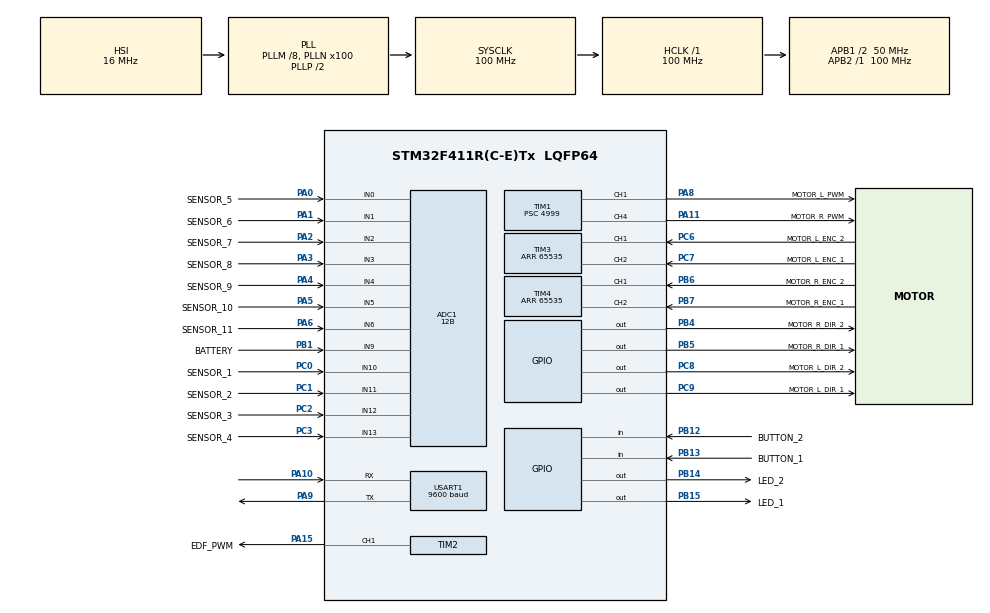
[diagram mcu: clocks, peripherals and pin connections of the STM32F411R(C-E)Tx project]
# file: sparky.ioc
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ADC1.Channel-0\#ChannelRegularConversion=ADC_CHANNEL_10
ADC1.Channel-1\#ChannelRegularConversion=ADC_CHANNEL_11
ADC1.Channel-10\#ChannelRegularConversion=ADC_CHANNEL_6
ADC1.Channel-11\#ChannelRegularConversion=ADC_CHANNEL_9
ADC1.Channel-12\#ChannelRegularConversion=ADC_CHANNEL_VREFINT
ADC1.Channel-2\#ChannelRegularConversion=ADC_CHANNEL_12
ADC1.Channel-3\#ChannelRegularConversion=ADC_CHANNEL_13
ADC1.Channel-4\#ChannelRegularConversion=ADC_CHANNEL_0
ADC1.Channel-5\#ChannelRegularConversion=ADC_CHANNEL_1
ADC1.Channel-6\#ChannelRegularConversion=ADC_CHANNEL_2
ADC1.Channel-7\#ChannelRegularConversion=ADC_CHANNEL_3
ADC1.Channel-8\#ChannelRegularConversion=ADC_CHANNEL_4
ADC1.Channel-9\#ChannelRegularConversion=ADC_CHANNEL_5
ADC1.ClockPrescaler=ADC_CLOCK_SYNC_PCLK_DIV4
ADC1.ContinuousConvMode=DISABLE
ADC1.DMAContinuousRequests=ENABLE
ADC1.DataAlign=ADC_DATAALIGN_RIGHT
ADC1.DiscontinuousConvMode=DISABLE
ADC1.EOCSelection=ADC_EOC_SEQ_CONV
ADC1.EnableAnalogWatchDog=false
ADC1.ExternalTrigConv=ADC_SOFTWARE_START
ADC1.ExternalTrigConvEdge=ADC_EXTERNALTRIGCONVEDGE_NONE
ADC1.InjNumberOfConversion=0
ADC1.NbrOfConversion=13
ADC1.NbrOfConversionFlag=1
ADC1.Rank-0\#ChannelRegularConversion=1
ADC1.Rank-1\#ChannelRegularConversion=2
ADC1.Rank-10\#ChannelRegularConversion=11
ADC1.Rank-11\#ChannelRegularConversion=12
ADC1.Rank-12\#ChannelRegularConversion=13
ADC1.Rank-2\#ChannelRegularConversion=3
ADC1.Rank-3\#ChannelRegularConversion=4
ADC1.Rank-4\#ChannelRegularConversion=5
ADC1.Rank-5\#ChannelRegularConversion=6
ADC1.Rank-6\#ChannelRegularConversion=7
ADC1.Rank-7\#ChannelRegularConversion=8
ADC1.Rank-8\#ChannelRegularConversion=9
ADC1.Rank-9\#ChannelRegularConversion=10
ADC1.Resolution=ADC_RESOLUTION_12B
ADC1.SamplingTime-0\#ChannelRegularConversion=ADC_SAMPLETIME_3CYCLES
ADC1.SamplingTime-1\#ChannelRegularConversion=ADC_SAMPLETIME_3CYCLES
ADC1.SamplingTime-10\#ChannelRegularConversion=ADC_SAMPLETIME_3CYCLES
ADC1.SamplingTime-11\#ChannelRegularConversion=ADC_SAMPLETIME_3CYCLES
ADC1.SamplingTime-12\#ChannelRegularConversion=ADC_SAMPLETIME_3CYCLES
ADC1.SamplingTime-2\#ChannelRegularConversion=ADC_SAMPLETIME_3CYCLES
ADC1.SamplingTime-3\#ChannelRegularConversion=ADC_SAMPLETIME_3CYCLES
ADC1.SamplingTime-4\#ChannelRegularConversion=ADC_SAMPLETIME_3CYCLES
ADC1.SamplingTime-5\#ChannelRegularConversion=ADC_SAMPLETIME_3CYCLES
ADC1.SamplingTime-6\#ChannelRegularConversion=ADC_SAMPLETIME_3CYCLES
ADC1.SamplingTime-7\#ChannelRegularConversion=ADC_SAMPLETIME_3CYCLES
ADC1.SamplingTime-8\#ChannelRegularConversion=ADC_SAMPLETIME_3CYCLES
ADC1.SamplingTime-9\#ChannelRegularConversion=ADC_SAMPLETIME_3CYCLES
ADC1.ScanConvMode=ENABLE
ADC1.master=1
Dma.ADC1.0.Direction=DMA_PERIPH_TO_MEMORY
Dma.ADC1.0.FIFOMode=DMA_FIFOMODE_DISABLE
Dma.ADC1.0.Instance=DMA2_Stream0
Dma.ADC1.0.MemDataAlignment=DMA_MDATAALIGN_HALFWORD
Dma.ADC1.0.MemInc=DMA_MINC_ENABLE
Dma.ADC1.0.Mode=DMA_CIRCULAR
Dma.ADC1.0.PeriphDataAlignment=DMA_PDATAALIGN_HALFWORD
Dma.ADC1.0.PeriphInc=DMA_PINC_DISABLE
Dma.ADC1.0.Priority=DMA_PRIORITY_LOW
Dma.Request0=ADC1
Mcu.Family=STM32F4
Mcu.Name=STM32F411R(C-E)Tx
Mcu.Package=LQFP64
NVIC.ADC_IRQn=true\:0\:0\:false\:false\:true
NVIC.DMA2_Stream0_IRQn=true\:0\:0\:false\:false\:true
NVIC.PriorityGroup=NVIC_PRIORITYGROUP_0
NVIC.TIM1_UP_TIM10_IRQn=true\:0\:0\:false\:false\:true
NVIC.USART1_IRQn=true\:0\:0\:false\:false\:true
PA0-WKUP.GPIO_Label=SENSOR_5
PA0-WKUP.Signal=ADCx_IN0
PA1.GPIO_Label=SENSOR_6
PA1.Signal=ADCx_IN1
PA10.Mode=Asynchronous
PA10.Signal=USART1_RX
PA11.GPIO_Label=MOTOR_R_PWM
PA11.Signal=S_TIM1_CH4
PA13.GPIO_Label=TMS
PA13.Signal=SYS_JTMS-SWDIO
PA14.GPIO_Label=TCK
PA14.Signal=SYS_JTCK-SWCLK
PA15.GPIO_Label=EDF_PWM
PA15.Signal=S_TIM2_CH1_ETR
PA2.GPIO_Label=SENSOR_7
PA2.Signal=ADCx_IN2
PA3.GPIO_Label=SENSOR_8
PA3.Signal=ADCx_IN3
PA4.GPIO_Label=SENSOR_9
PA4.Signal=ADCx_IN4
PA5.GPIO_Label=SENSOR_10
PA5.Signal=ADCx_IN5
PA6.GPIO_Label=SENSOR_11
PA6.Signal=ADCx_IN6
PA8.GPIO_Label=MOTOR_L_PWM
PA8.Signal=S_TIM1_CH1
PA9.Mode=Asynchronous
PA9.Signal=USART1_TX
PB1.GPIO_Label=BATTERY
PB1.Signal=ADCx_IN9
PB12.GPIO_Label=BUTTON_2
PB12.Signal=GPIO_Input
PB13.GPIO_Label=BUTTON_1
PB13.Signal=GPIO_Input
PB14.GPIO_Label=LED_2
PB14.Signal=GPIO_Output
PB15.GPIO_Label=LED_1
PB15.Signal=GPIO_Output
PB3.GPIO_Label=SWO
PB3.Signal=SYS_JTDO-SWO
PB4.GPIO_Label=MOTOR_R_DIR_2
PB4.Signal=GPIO_Output
PB5.GPIO_Label=MOTOR_R_DIR_1
PB5.Signal=GPIO_Output
PB6.GPIO_Label=MOTOR_R_ENC_2
PB6.Signal=S_TIM4_CH1
PB7.GPIO_Label=MOTOR_R_ENC_1
PB7.Signal=S_TIM4_CH2
PC0.GPIO_Label=SENSOR_1
PC0.Signal=ADCx_IN10
PC1.GPIO_Label=SENSOR_2
PC1.Signal=ADCx_IN11
PC2.GPIO_Label=SENSOR_3
PC2.Signal=ADCx_IN12
PC3.GPIO_Label=SENSOR_4
PC3.Signal=ADCx_IN13
PC6.GPIO_Label=MOTOR_L_ENC_2
PC6.Signal=S_TIM3_CH1
PC7.GPIO_Label=MOTOR_L_ENC_1
PC7.Signal=S_TIM3_CH2
PC8.GPIO_Label=MOTOR_L_DIR_2
PC8.Signal=GPIO_Output
PC9.GPIO_Label=MOTOR_L_DIR_1
PC9.Signal=GPIO_Output
ProjectManager.HeapSize=0x200
ProjectManager.StackSize=0x400
ProjectManager.TargetToolchain=SW4STM32
RCC.48MHZClocksFreq_Value=50000000
RCC.AHBFreq_Value=100000000
RCC.APB1CLKDivider=RCC_HCLK_DIV2
RCC.APB1Freq_Value=50000000
RCC.APB1TimFreq_Value=100000000
RCC.APB2Freq_Value=100000000
RCC.APB2TimFreq_Value=100000000
RCC.CortexFreq_Value=100000000
RCC.FLatency-AdvancedSettings=FLASH_LATENCY_3
RCC.HCLKFreq_Value=100000000
RCC.HSE_VALUE=8000000
RCC.HSI_VALUE=16000000
RCC.LSE_VALUE=32768
RCC.PLLM=8
RCC.PLLN=100
RCC.SYSCLKFreq_VALUE=100000000
RCC.SYSCLKSource=RCC_SYSCLKSOURCE_PLLCLK
RCC.VCOOutputFreq_Value=200000000
SH.ADCx_IN0.0=ADC1_IN0,IN0
SH.ADCx_IN1.0=ADC1_IN1,IN1
SH.ADCx_IN10.0=ADC1_IN10,IN10
SH.ADCx_IN11.0=ADC1_IN11,IN11
SH.ADCx_IN12.0=ADC1_IN12,IN12
SH.ADCx_IN13.0=ADC1_IN13,IN13
SH.ADCx_IN2.0=ADC1_IN2,IN2
SH.ADCx_IN3.0=ADC1_IN3,IN3
SH.ADCx_IN4.0=ADC1_IN4,IN4
SH.ADCx_IN5.0=ADC1_IN5,IN5
SH.ADCx_IN6.0=ADC1_IN6,IN6
SH.ADCx_IN9.0=ADC1_IN9,IN9
SH.S_TIM1_CH1.0=TIM1_CH1,PWM Generation1 CH1
SH.S_TIM1_CH4.0=TIM1_CH4,PWM Generation4 CH4
SH.S_TIM2_CH1_ETR.0=TIM2_CH1,PWM Generation1 CH1
SH.S_TIM3_CH1.0=TIM3_CH1,Encoder_Interface
SH.S_TIM3_CH2.0=TIM3_CH2,Encoder_Interface
SH.S_TIM4_CH1.0=TIM4_CH1,Encoder_Interface
SH.S_TIM4_CH2.0=TIM4_CH2,Encoder_Interface
TIM1.Channel-PWM\ Generation4\ CH4=TIM_CHANNEL_4
TIM1.Period=99
TIM1.Prescaler=4999
TIM10.Period=4999
TIM10.Prescaler=9999
TIM2.Period=399
TIM2.Prescaler=4999
TIM3.EncoderMode=TIM_ENCODERMODE_TI12
TIM3.Period=65535
TIM4.EncoderMode=TIM_ENCODERMODE_TI12
TIM4.Period=65535
USART1.BaudRate=9600
VP_ADC1_Vref_Input.Mode=IN-Vrefint
VP_TIM10_VS_ClockSourceINT.Mode=Enable_Timer
board=NUCLEO-F411RE

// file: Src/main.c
/**
  ******************************************************************************
  * File Name          : main.c
  * Description        : Main program body
  ******************************************************************************
  *
  * COPYRIGHT(c) 2017 STMicroelectronics
  *
  * Redistribution and use in source and binary forms, with or without modification,
  * are permitted provided that the following conditions are met:
  *   1. Redistributions of source code must retain the above copyright notice,
  *      this list of conditions and the following disclaimer.
  *   2. Redistributions in binary form must reproduce the above copyright notice,
  *      this list of conditions and the following disclaimer in the documentation
  *      and/or other materials provided with the distribution.
  *   3. Neither the name of STMicroelectronics nor the names of its contributors
  *      may be used to endorse or promote products derived from this software
  *      without specific prior written permission.
  *
  * THIS SOFTWARE IS PROVIDED BY THE COPYRIGHT HOLDERS AND CONTRIBUTORS "AS IS"
  * AND ANY EXPRESS OR IMPLIED WARRANTIES, INCLUDING, BUT NOT LIMITED TO, THE
  * IMPLIED WARRANTIES OF MERCHANTABILITY AND FITNESS FOR A PARTICULAR PURPOSE ARE
  * DISCLAIMED. IN NO EVENT SHALL THE COPYRIGHT HOLDER OR CONTRIBUTORS BE LIABLE
  * FOR ANY DIRECT, INDIRECT, INCIDENTAL, SPECIAL, EXEMPLARY, OR CONSEQUENTIAL
  * DAMAGES (INCLUDING, BUT NOT LIMITED TO, PROCUREMENT OF SUBSTITUTE GOODS OR
  * SERVICES; LOSS OF USE, DATA, OR PROFITS; OR BUSINESS INTERRUPTION) HOWEVER
  * CAUSED AND ON ANY THEORY OF LIABILITY, WHETHER IN CONTRACT, STRICT LIABILITY,
  * OR TORT (INCLUDING NEGLIGENCE OR OTHERWISE) ARISING IN ANY WAY OUT OF THE USE
  * OF THIS SOFTWARE, EVEN IF ADVISED OF THE POSSIBILITY OF SUCH DAMAGE.
  *
  ******************************************************************************
  */
#include "main.h"
#include "stm32f4xx_hal.h"

/* USER CODE BEGIN Includes */

#include "messages.h"
#include "commands.h"
#include "motors.h"
#include "sensors.h"
#include "edf.h"

/* USER CODE END Includes */

ADC_HandleTypeDef hadc1;
DMA_HandleTypeDef hdma_adc1;

TIM_HandleTypeDef htim1;
TIM_HandleTypeDef htim2;
TIM_HandleTypeDef htim3;
TIM_HandleTypeDef htim4;
TIM_HandleTypeDef htim10;

UART_HandleTypeDef huart1;

/* USER CODE BEGIN PV */
/* Private variables ---------------------------------------------------------*/

/* USER CODE END PV */

void SystemClock_Config(void);
void Error_Handler(void);
static void MX_GPIO_Init(void);
static void MX_DMA_Init(void);
static void MX_USART1_UART_Init(void);
static void MX_ADC1_Init(void);
static void MX_TIM1_Init(void);
static void MX_TIM2_Init(void);
static void MX_TIM3_Init(void);
static void MX_TIM4_Init(void);
static void MX_TIM10_Init(void);

void HAL_TIM_MspPostInit(TIM_HandleTypeDef *htim);

/* USER CODE BEGIN PFP */
/* Private function prototypes -----------------------------------------------*/

/* USER CODE END PFP */

/* USER CODE BEGIN 0 */

void HAL_UART_RxCpltCallback(UART_HandleTypeDef *huart) {
	handleCommand();
	receiveCommand();
}

void HAL_UART_TxCpltCallback(UART_HandleTypeDef *huart) {
	sendPendingMessages();
}

void HAL_TIM_PeriodElapsedCallback(TIM_HandleTypeDef *htim){
	if (htim->Instance == TIM10) {
		readSensors();
		handleMotorsEncodersTimerPeriodElapsed();
	}
}

void HAL_UART_ErrorCallback(UART_HandleTypeDef *huart) {
	if (huart->ErrorCode == HAL_UART_ERROR_ORE) {
		receiveCommand();
	}
}

void HAL_ADC_ConvCpltCallback(ADC_HandleTypeDef* hadc) {
	handleSensorsMeasured();
}

/* USER CODE END 0 */

int main(void)
{

  /* MCU Configuration----------------------------------------------------------*/

  /* Reset of all peripherals, Initializes the Flash interface and the Systick. */
  HAL_Init();

  /* Configure the system clock */
  SystemClock_Config();

  /* Initialize all configured peripherals */
  MX_GPIO_Init();
  MX_DMA_Init();
  MX_USART1_UART_Init();
  MX_ADC1_Init();
  MX_TIM1_Init();
  MX_TIM2_Init();
  MX_TIM3_Init();
  MX_TIM4_Init();
  MX_TIM10_Init();

  /* USER CODE BEGIN 2 */
  receiveCommand();
  initializeMotors();
  initializeEDF();

  /* USER CODE END 2 */

  /* Infinite loop */
  while (1)
  {

  }

}

/** System Clock Configuration
*/
void SystemClock_Config(void)
{

  RCC_OscInitTypeDef RCC_OscInitStruct;
  RCC_ClkInitTypeDef RCC_ClkInitStruct;

    /**Configure the main internal regulator output voltage
    */
  __HAL_RCC_PWR_CLK_ENABLE();

  __HAL_PWR_VOLTAGESCALING_CONFIG(PWR_REGULATOR_VOLTAGE_SCALE1);

    /**Initializes the CPU, AHB and APB busses clocks
    */
  RCC_OscInitStruct.OscillatorType = RCC_OSCILLATORTYPE_HSI;
  RCC_OscInitStruct.HSIState = RCC_HSI_ON;
  RCC_OscInitStruct.HSICalibrationValue = 16;
  RCC_OscInitStruct.PLL.PLLState = RCC_PLL_ON;
  RCC_OscInitStruct.PLL.PLLSource = RCC_PLLSOURCE_HSI;
  RCC_OscInitStruct.PLL.PLLM = 8;
  RCC_OscInitStruct.PLL.PLLN = 100;
  RCC_OscInitStruct.PLL.PLLP = RCC_PLLP_DIV2;
  RCC_OscInitStruct.PLL.PLLQ = 4;
  if (HAL_RCC_OscConfig(&RCC_OscInitStruct) != HAL_OK)
  {
    Error_Handler();
  }

    /**Initializes the CPU, AHB and APB busses clocks
    */
  RCC_ClkInitStruct.ClockType = RCC_CLOCKTYPE_HCLK|RCC_CLOCKTYPE_SYSCLK
                              |RCC_CLOCKTYPE_PCLK1|RCC_CLOCKTYPE_PCLK2;
  RCC_ClkInitStruct.SYSCLKSource = RCC_SYSCLKSOURCE_PLLCLK;
  RCC_ClkInitStruct.AHBCLKDivider = RCC_SYSCLK_DIV1;
  RCC_ClkInitStruct.APB1CLKDivider = RCC_HCLK_DIV2;
  RCC_ClkInitStruct.APB2CLKDivider = RCC_HCLK_DIV1;

  if (HAL_RCC_ClockConfig(&RCC_ClkInitStruct, FLASH_LATENCY_3) != HAL_OK)
  {
    Error_Handler();
  }

    /**Configure the Systick interrupt time
    */
  HAL_SYSTICK_Config(HAL_RCC_GetHCLKFreq()/1000);

    /**Configure the Systick
    */
  HAL_SYSTICK_CLKSourceConfig(SYSTICK_CLKSOURCE_HCLK);

  /* SysTick_IRQn interrupt configuration */
  HAL_NVIC_SetPriority(SysTick_IRQn, 0, 0);
}

/* ADC1 init function */
static void MX_ADC1_Init(void)
{

  ADC_ChannelConfTypeDef sConfig;

    /**Configure the global features of the ADC (Clock, Resolution, Data Alignment and number of conversion)
    */
  hadc1.Instance = ADC1;
  hadc1.Init.ClockPrescaler = ADC_CLOCK_SYNC_PCLK_DIV4;
  hadc1.Init.Resolution = ADC_RESOLUTION_12B;
  hadc1.Init.ScanConvMode = ENABLE;
  hadc1.Init.ContinuousConvMode = DISABLE;
  hadc1.Init.DiscontinuousConvMode = DISABLE;
  hadc1.Init.ExternalTrigConvEdge = ADC_EXTERNALTRIGCONVEDGE_NONE;
  hadc1.Init.ExternalTrigConv = ADC_SOFTWARE_START;
  hadc1.Init.DataAlign = ADC_DATAALIGN_RIGHT;
  hadc1.Init.NbrOfConversion = 13;
  hadc1.Init.DMAContinuousRequests = ENABLE;
  hadc1.Init.EOCSelection = ADC_EOC_SEQ_CONV;
  if (HAL_ADC_Init(&hadc1) != HAL_OK)
  {
    Error_Handler();
  }

    /**Configure for the selected ADC regular channel its corresponding rank in the sequencer and its sample time.
    */
  sConfig.Channel = ADC_CHANNEL_10;
  sConfig.Rank = 1;
  sConfig.SamplingTime = ADC_SAMPLETIME_3CYCLES;
  if (HAL_ADC_ConfigChannel(&hadc1, &sConfig) != HAL_OK)
  {
    Error_Handler();
  }

    /**Configure for the selected ADC regular channel its corresponding rank in the sequencer and its sample time.
    */
  sConfig.Channel = ADC_CHANNEL_11;
  sConfig.Rank = 2;
  if (HAL_ADC_ConfigChannel(&hadc1, &sConfig) != HAL_OK)
  {
    Error_Handler();
  }

    /**Configure for the selected ADC regular channel its corresponding rank in the sequencer and its sample time.
    */
  sConfig.Channel = ADC_CHANNEL_12;
  sConfig.Rank = 3;
  if (HAL_ADC_ConfigChannel(&hadc1, &sConfig) != HAL_OK)
  {
    Error_Handler();
  }

    /**Configure for the selected ADC regular channel its corresponding rank in the sequencer and its sample time.
    */
  sConfig.Channel = ADC_CHANNEL_13;
  sConfig.Rank = 4;
  if (HAL_ADC_ConfigChannel(&hadc1, &sConfig) != HAL_OK)
  {
    Error_Handler();
  }

    /**Configure for the selected ADC regular channel its corresponding rank in the sequencer and its sample time.
    */
  sConfig.Channel = ADC_CHANNEL_0;
  sConfig.Rank = 5;
  if (HAL_ADC_ConfigChannel(&hadc1, &sConfig) != HAL_OK)
  {
    Error_Handler();
  }

    /**Configure for the selected ADC regular channel its corresponding rank in the sequencer and its sample time.
    */
  sConfig.Channel = ADC_CHANNEL_1;
  sConfig.Rank = 6;
  if (HAL_ADC_ConfigChannel(&hadc1, &sConfig) != HAL_OK)
  {
    Error_Handler();
  }

    /**Configure for the selected ADC regular channel its corresponding rank in the sequencer and its sample time.
    */
  sConfig.Channel = ADC_CHANNEL_2;
  sConfig.Rank = 7;
  if (HAL_ADC_ConfigChannel(&hadc1, &sConfig) != HAL_OK)
  {
    Error_Handler();
  }

    /**Configure for the selected ADC regular channel its corresponding rank in the sequencer and its sample time.
    */
  sConfig.Channel = ADC_CHANNEL_3;
  sConfig.Rank = 8;
  if (HAL_ADC_ConfigChannel(&hadc1, &sConfig) != HAL_OK)
  {
    Error_Handler();
  }

    /**Configure for the selected ADC regular channel its corresponding rank in the sequencer and its sample time.
    */
  sConfig.Channel = ADC_CHANNEL_4;
  sConfig.Rank = 9;
  if (HAL_ADC_ConfigChannel(&hadc1, &sConfig) != HAL_OK)
  {
    Error_Handler();
  }

    /**Configure for the selected ADC regular channel its corresponding rank in the sequencer and its sample time.
    */
  sConfig.Channel = ADC_CHANNEL_5;
  sConfig.Rank = 10;
  if (HAL_ADC_ConfigChannel(&hadc1, &sConfig) != HAL_OK)
  {
    Error_Handler();
  }

    /**Configure for the selected ADC regular channel its corresponding rank in the sequencer and its sample time.
    */
  sConfig.Channel = ADC_CHANNEL_6;
  sConfig.Rank = 11;
  if (HAL_ADC_ConfigChannel(&hadc1, &sConfig) != HAL_OK)
  {
    Error_Handler();
  }

    /**Configure for the selected ADC regular channel its corresponding rank in the sequencer and its sample time.
    */
  sConfig.Channel = ADC_CHANNEL_9;
  sConfig.Rank = 12;
  if (HAL_ADC_ConfigChannel(&hadc1, &sConfig) != HAL_OK)
  {
    Error_Handler();
  }

    /**Configure for the selected ADC regular channel its corresponding rank in the sequencer and its sample time.
    */
  sConfig.Channel = ADC_CHANNEL_VREFINT;
  sConfig.Rank = 13;
  if (HAL_ADC_ConfigChannel(&hadc1, &sConfig) != HAL_OK)
  {
    Error_Handler();
  }

}

/* TIM1 init function */
static void MX_TIM1_Init(void)
{

  TIM_MasterConfigTypeDef sMasterConfig;
  TIM_OC_InitTypeDef sConfigOC;
  TIM_BreakDeadTimeConfigTypeDef sBreakDeadTimeConfig;

  htim1.Instance = TIM1;
  htim1.Init.Prescaler = 4999;
  htim1.Init.CounterMode = TIM_COUNTERMODE_UP;
  htim1.Init.Period = 99;
  htim1.Init.ClockDivision = TIM_CLOCKDIVISION_DIV1;
  htim1.Init.RepetitionCounter = 0;
  if (HAL_TIM_PWM_Init(&htim1) != HAL_OK)
  {
    Error_Handler();
  }

  sMasterConfig.MasterOutputTrigger = TIM_TRGO_RESET;
  sMasterConfig.MasterSlaveMode = TIM_MASTERSLAVEMODE_DISABLE;
  if (HAL_TIMEx_MasterConfigSynchronization(&htim1, &sMasterConfig) != HAL_OK)
  {
    Error_Handler();
  }

  sConfigOC.OCMode = TIM_OCMODE_PWM1;
  sConfigOC.Pulse = 0;
  sConfigOC.OCPolarity = TIM_OCPOLARITY_HIGH;
  sConfigOC.OCNPolarity = TIM_OCNPOLARITY_HIGH;
  sConfigOC.OCFastMode = TIM_OCFAST_DISABLE;
  sConfigOC.OCIdleState = TIM_OCIDLESTATE_RESET;
  sConfigOC.OCNIdleState = TIM_OCNIDLESTATE_RESET;
  if (HAL_TIM_PWM_ConfigChannel(&htim1, &sConfigOC, TIM_CHANNEL_1) != HAL_OK)
  {
    Error_Handler();
  }

  if (HAL_TIM_PWM_ConfigChannel(&htim1, &sConfigOC, TIM_CHANNEL_4) != HAL_OK)
  {
    Error_Handler();
  }

  sBreakDeadTimeConfig.OffStateRunMode = TIM_OSSR_DISABLE;
  sBreakDeadTimeConfig.OffStateIDLEMode = TIM_OSSI_DISABLE;
  sBreakDeadTimeConfig.LockLevel = TIM_LOCKLEVEL_OFF;
  sBreakDeadTimeConfig.DeadTime = 0;
  sBreakDeadTimeConfig.BreakState = TIM_BREAK_DISABLE;
  sBreakDeadTimeConfig.BreakPolarity = TIM_BREAKPOLARITY_HIGH;
  sBreakDeadTimeConfig.AutomaticOutput = TIM_AUTOMATICOUTPUT_DISABLE;
  if (HAL_TIMEx_ConfigBreakDeadTime(&htim1, &sBreakDeadTimeConfig) != HAL_OK)
  {
    Error_Handler();
  }

  HAL_TIM_MspPostInit(&htim1);

}

/* TIM2 init function */
static void MX_TIM2_Init(void)
{

  TIM_MasterConfigTypeDef sMasterConfig;
  TIM_OC_InitTypeDef sConfigOC;

  htim2.Instance = TIM2;
  htim2.Init.Prescaler = 4999;
  htim2.Init.CounterMode = TIM_COUNTERMODE_UP;
  htim2.Init.Period = 399;
  htim2.Init.ClockDivision = TIM_CLOCKDIVISION_DIV1;
  if (HAL_TIM_PWM_Init(&htim2) != HAL_OK)
  {
    Error_Handler();
  }

  sMasterConfig.MasterOutputTrigger = TIM_TRGO_RESET;
  sMasterConfig.MasterSlaveMode = TIM_MASTERSLAVEMODE_DISABLE;
  if (HAL_TIMEx_MasterConfigSynchronization(&htim2, &sMasterConfig) != HAL_OK)
  {
    Error_Handler();
  }

  sConfigOC.OCMode = TIM_OCMODE_PWM1;
  sConfigOC.Pulse = 0;
  sConfigOC.OCPolarity = TIM_OCPOLARITY_HIGH;
  sConfigOC.OCFastMode = TIM_OCFAST_DISABLE;
  if (HAL_TIM_PWM_ConfigChannel(&htim2, &sConfigOC, TIM_CHANNEL_1) != HAL_OK)
  {
    Error_Handler();
  }

  HAL_TIM_MspPostInit(&htim2);

}

/* TIM3 init function */
static void MX_TIM3_Init(void)
{

  TIM_Encoder_InitTypeDef sConfig;
  TIM_MasterConfigTypeDef sMasterConfig;

  htim3.Instance = TIM3;
  htim3.Init.Prescaler = 0;
  htim3.Init.CounterMode = TIM_COUNTERMODE_UP;
  htim3.Init.Period = 65535;
  htim3.Init.ClockDivision = TIM_CLOCKDIVISION_DIV1;
  sConfig.EncoderMode = TIM_ENCODERMODE_TI12;
  sConfig.IC1Polarity = TIM_ICPOLARITY_RISING;
  sConfig.IC1Selection = TIM_ICSELECTION_DIRECTTI;
  sConfig.IC1Prescaler = TIM_ICPSC_DIV1;
  sConfig.IC1Filter = 0;
  sConfig.IC2Polarity = TIM_ICPOLARITY_RISING;
  sConfig.IC2Selection = TIM_ICSELECTION_DIRECTTI;
  sConfig.IC2Prescaler = TIM_ICPSC_DIV1;
  sConfig.IC2Filter = 0;
  if (HAL_TIM_Encoder_Init(&htim3, &sConfig) != HAL_OK)
  {
    Error_Handler();
  }

  sMasterConfig.MasterOutputTrigger = TIM_TRGO_RESET;
  sMasterConfig.MasterSlaveMode = TIM_MASTERSLAVEMODE_DISABLE;
  if (HAL_TIMEx_MasterConfigSynchronization(&htim3, &sMasterConfig) != HAL_OK)
  {
    Error_Handler();
  }

}

/* TIM4 init function */
static void MX_TIM4_Init(void)
{

  TIM_Encoder_InitTypeDef sConfig;
  TIM_MasterConfigTypeDef sMasterConfig;

  htim4.Instance = TIM4;
  htim4.Init.Prescaler = 0;
  htim4.Init.CounterMode = TIM_COUNTERMODE_UP;
  htim4.Init.Period = 65535;
  htim4.Init.ClockDivision = TIM_CLOCKDIVISION_DIV1;
  sConfig.EncoderMode = TIM_ENCODERMODE_TI12;
  sConfig.IC1Polarity = TIM_ICPOLARITY_RISING;
  sConfig.IC1Selection = TIM_ICSELECTION_DIRECTTI;
  sConfig.IC1Prescaler = TIM_ICPSC_DIV1;
  sConfig.IC1Filter = 0;
  sConfig.IC2Polarity = TIM_ICPOLARITY_RISING;
  sConfig.IC2Selection = TIM_ICSELECTION_DIRECTTI;
  sConfig.IC2Prescaler = TIM_ICPSC_DIV1;
  sConfig.IC2Filter = 0;
  if (HAL_TIM_Encoder_Init(&htim4, &sConfig) != HAL_OK)
  {
    Error_Handler();
  }

  sMasterConfig.MasterOutputTrigger = TIM_TRGO_RESET;
  sMasterConfig.MasterSlaveMode = TIM_MASTERSLAVEMODE_DISABLE;
  if (HAL_TIMEx_MasterConfigSynchronization(&htim4, &sMasterConfig) != HAL_OK)
  {
    Error_Handler();
  }

}

/* TIM10 init function */
static void MX_TIM10_Init(void)
{

  htim10.Instance = TIM10;
  htim10.Init.Prescaler = 9999;
  htim10.Init.CounterMode = TIM_COUNTERMODE_UP;
  htim10.Init.Period = 4999;
  htim10.Init.ClockDivision = TIM_CLOCKDIVISION_DIV1;
  if (HAL_TIM_Base_Init(&htim10) != HAL_OK)
  {
    Error_Handler();
  }

}

/* USART1 init function */
static void MX_USART1_UART_Init(void)
{

  huart1.Instance = USART1;
  huart1.Init.BaudRate = 9600;
  huart1.Init.WordLength = UART_WORDLENGTH_8B;
  huart1.Init.StopBits = UART_STOPBITS_1;
  huart1.Init.Parity = UART_PARITY_NONE;
  huart1.Init.Mode = UART_MODE_TX_RX;
  huart1.Init.HwFlowCtl = UART_HWCONTROL_NONE;
  huart1.Init.OverSampling = UART_OVERSAMPLING_16;
  if (HAL_UART_Init(&huart1) != HAL_OK)
  {
    Error_Handler();
  }

}

static void MX_DMA_Init(void)
{
  /* DMA controller clock enable */
  __HAL_RCC_DMA2_CLK_ENABLE();

  /* DMA interrupt init */
  /* DMA2_Stream0_IRQn interrupt configuration */
  HAL_NVIC_SetPriority(DMA2_Stream0_IRQn, 0, 0);
  HAL_NVIC_EnableIRQ(DMA2_Stream0_IRQn);

}

/** Configure pins as
        * Analog
        * Input
        * Output
        * EVENT_OUT
        * EXTI
*/
static void MX_GPIO_Init(void)
{

  GPIO_InitTypeDef GPIO_InitStruct;

  /* GPIO Ports Clock Enable */
  __HAL_RCC_GPIOC_CLK_ENABLE();
  __HAL_RCC_GPIOA_CLK_ENABLE();
  __HAL_RCC_GPIOB_CLK_ENABLE();

  /*Configure GPIO pin Output Level */
  HAL_GPIO_WritePin(GPIOB, LED_2_Pin|LED_1_Pin|MOTOR_R_DIR_2_Pin|MOTOR_R_DIR_1_Pin, GPIO_PIN_RESET);

  /*Configure GPIO pin Output Level */
  HAL_GPIO_WritePin(GPIOC, MOTOR_L_DIR_2_Pin|MOTOR_L_DIR_1_Pin, GPIO_PIN_RESET);

  /*Configure GPIO pins : BUTTON_2_Pin BUTTON_1_Pin */
  GPIO_InitStruct.Pin = BUTTON_2_Pin|BUTTON_1_Pin;
  GPIO_InitStruct.Mode = GPIO_MODE_INPUT;
  GPIO_InitStruct.Pull = GPIO_NOPULL;
  HAL_GPIO_Init(GPIOB, &GPIO_InitStruct);

  /*Configure GPIO pins : LED_2_Pin LED_1_Pin MOTOR_R_DIR_2_Pin MOTOR_R_DIR_1_Pin */
  GPIO_InitStruct.Pin = LED_2_Pin|LED_1_Pin|MOTOR_R_DIR_2_Pin|MOTOR_R_DIR_1_Pin;
  GPIO_InitStruct.Mode = GPIO_MODE_OUTPUT_PP;
  GPIO_InitStruct.Pull = GPIO_NOPULL;
  GPIO_InitStruct.Speed = GPIO_SPEED_FREQ_LOW;
  HAL_GPIO_Init(GPIOB, &GPIO_InitStruct);

  /*Configure GPIO pins : MOTOR_L_DIR_2_Pin MOTOR_L_DIR_1_Pin */
  GPIO_InitStruct.Pin = MOTOR_L_DIR_2_Pin|MOTOR_L_DIR_1_Pin;
  GPIO_InitStruct.Mode = GPIO_MODE_OUTPUT_PP;
  GPIO_InitStruct.Pull = GPIO_NOPULL;
  GPIO_InitStruct.Speed = GPIO_SPEED_FREQ_LOW;
  HAL_GPIO_Init(GPIOC, &GPIO_InitStruct);

}

void Error_Handler(void)
{
  while(1)
  {
  }
}

/************************ (C) COPYRIGHT STMicroelectronics *****END OF FILE****/
